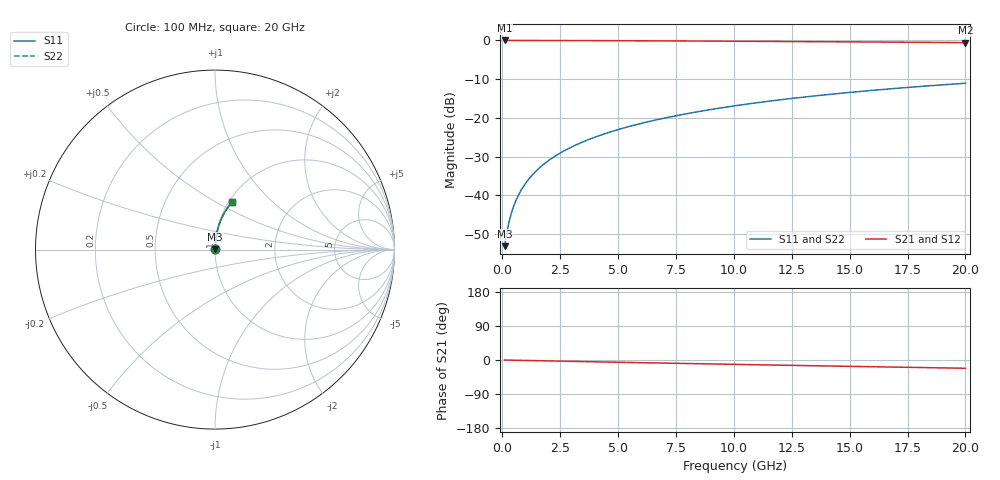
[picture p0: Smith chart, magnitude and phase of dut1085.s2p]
! Touchstone file exported from HFSS 2024.1.0
!  File:  C:/UserFiles/LocalFiles/RDL_TSV_Batchsim/temp_RDL_top_1085_1780045717.aedt
!  Generated:  05:10:41 PM May 29, 2026
!  Design:  RDL_top
!  Project:  temp_RDL_top_1085_1780045717
!  Setup:  Setup1
!  Solution:  Sweep
! Variables:
!  dtsv = 10.80580581um
!  hbump = 3um
!  htsv = 69.22um
!  ldown = 100um
!  lrdl = 230.41um
!  p = 40
!  p1 = 56.77um
!  rhole = 1um
!  t = 450um
!  tdown = 3.915915916um
!  trdl = 3.75um
!  wdown = 15.38538539um
!  wrdl = 14.43um
# GHz S MA R 50.000000
! Terminal data exported
! Port[1] = Box2_T1
! Port[2] = Box2_T2
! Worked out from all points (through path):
!   200 points, 100 MHz to 20 GHz, reference 50 ohm
!   highest |S21| = -0.01 dB at 100 MHz (marker M1); lowest = -0.6 dB at 20 GHz (marker M2)
!   group delay of S21, straight-line fit = 3.02 ps
!   lowest |S11| = -53.1 dB at 100 MHz (marker M3), VSWR 1.00, Z = 50.2 + j0.146 ohm
!   |S11| at or under -10 dB: start of sweep to end of sweep
!   |S22| runs from -53.1 to -11.1 dB; largest |S21 - S12| = 3.9e-15
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0.1  0.002205 41.2  0.9983 -0.1  0.9983 -0.1  0.002205 41.2
! Gamma 0 0 0 0
! Port Impedance 50 0 50 0
0.2  0.003351 59.6  0.9983 -0.2  0.9983 -0.2  0.003351 59.6
0.3  0.00465 68.0  0.9982 -0.4  0.9982 -0.4  0.00465 68.0
0.4  0.005992 72.6  0.9982 -0.5  0.9982 -0.5  0.005992 72.6
0.5  0.007349 75.5  0.9981 -0.6  0.9981 -0.6  0.007349 75.5
0.6  0.008714 77.5  0.9981 -0.7  0.9981 -0.7  0.008713 77.5
0.8  0.01146 80.1  0.9979 -1.0  0.9979 -1.0  0.01146 80.1
1.1  0.0156 82.3  0.9977 -1.3  0.9977 -1.3  0.0156 82.3
1.5  0.02115 83.8  0.9974 -1.8  0.9974 -1.8  0.02115 83.8
1.8  0.02533 84.4  0.9971 -2.2  0.9971 -2.2  0.02533 84.4
2.1  0.02953 84.8  0.9967 -2.5  0.9967 -2.5  0.02953 84.8
2.7  0.03795 85.2  0.9959 -3.3  0.9959 -3.3  0.03795 85.2
3.5  0.04923 85.2  0.9945 -4.2  0.9945 -4.2  0.04923 85.2
4.2  0.05916 85.0  0.993 -5.0  0.993 -5.0  0.05916 85.0
5  0.07056 84.6  0.9912 -6.0  0.9912 -6.0  0.07056 84.6
5.9  0.08345 84.1  0.9888 -7.0  0.9888 -7.0  0.08345 84.1
6.8  0.09638 83.4  0.9863 -8.0  0.9863 -8.0  0.09638 83.4
8.3  0.118 82.2  0.9816 -9.7  0.9816 -9.7  0.118 82.2
10.1  0.1439 80.5  0.9756 -11.6  0.9756 -11.6  0.1439 80.5
13.4  0.1908 77.2  0.9637 -15.1  0.9637 -15.1  0.1908 77.2
16.7  0.2363 73.8  0.9505 -18.5  0.9505 -18.5  0.2363 73.8
20  0.2799 70.4  0.9363 -21.8  0.9363 -21.8  0.2798 70.4
